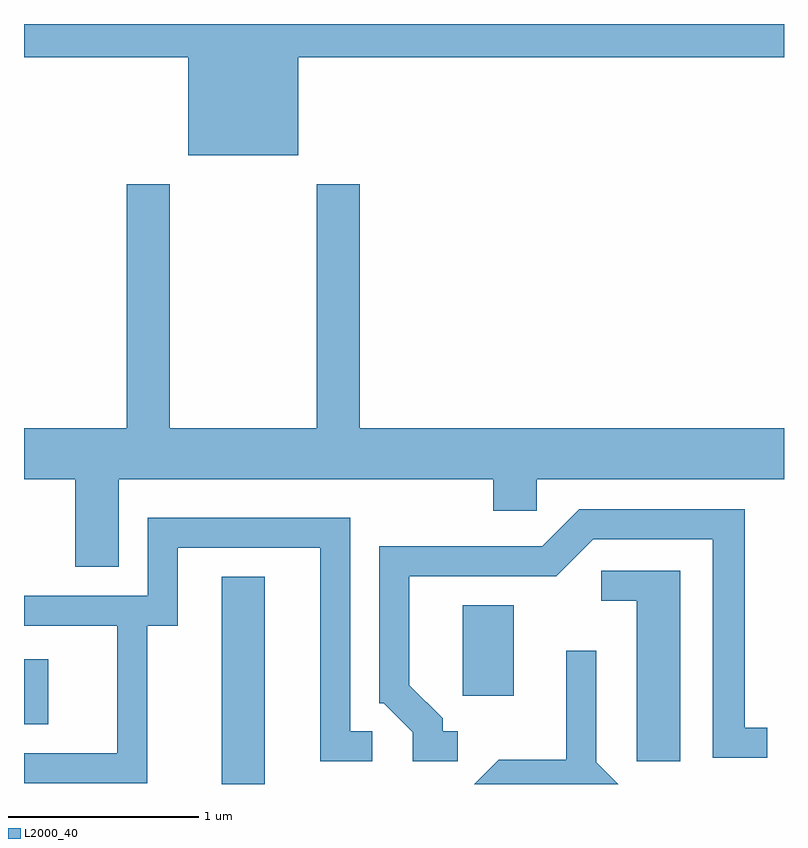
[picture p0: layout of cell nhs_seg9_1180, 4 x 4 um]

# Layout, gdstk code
import gdstk
lib = gdstk.Library(unit=1e-6, precision=1e-09)
def R(c, l, rs):  # rectangles x0, y0, x1, y1
    for r in rs: c.add(gdstk.rectangle(r[:2], r[2:], *l))
def P(c, l, *ps):  # polygons
    for p in ps: c.add(gdstk.Polygon(p, *l))
L2000_40 = (2000, 40)

nhs_seg9_1180 = lib.new_cell('nhs_seg9_1180')
R(nhs_seg9_1180, L2000_40, [(220.651,1992.432,220.879,1993.524), (219.611,1992.746,219.739,1993.089), (221.921,1992.896,222.189,1993.374)])
P(nhs_seg9_1180, L2000_40, [(221.054,1996.256),(223.611,1996.256),(223.611,1996.432),(219.611,1996.432),(219.611,1996.256),(220.476,1996.256),(220.476,1995.741),(221.054,1995.741)],
  [(220.109,1994.036),(222.081,1994.036),(222.081,1993.871),(222.309,1993.871),(222.309,1994.036),(223.611,1994.036),(223.611,1994.304),(221.379,1994.304),(221.379,1995.589),(221.151,1995.589),(221.151,1994.304),(220.379,1994.304),(220.379,1995.589),(220.151,1995.589),(220.151,1994.304),(219.611,1994.304),(219.611,1994.036),(219.881,1994.036),(219.881,1993.576),(220.109,1993.576)],
  [(221.893,1992.709),(221.814,1992.709),(221.814,1992.777),(221.639,1992.952),(221.639,1993.526),(222.412,1993.526),(222.607,1993.721),(223.236,1993.721),(223.236,1992.571),(223.523,1992.571),(223.523,1992.729),(223.404,1992.729),(223.404,1993.879),(222.534,1993.879),(222.339,1993.684),(221.481,1993.684),(221.481,1992.856),(221.504,1992.856),(221.656,1992.704),(221.656,1992.551),(221.893,1992.551)],
  [(220.259,1993.266),(220.419,1993.266),(220.419,1993.676),(221.171,1993.676),(221.171,1992.551),(221.443,1992.551),(221.443,1992.709),(221.329,1992.709),(221.329,1993.834),(220.261,1993.834),(220.261,1993.424),(219.611,1993.424),(219.611,1993.266),(220.101,1993.266),(220.101,1992.594),(219.611,1992.594),(219.611,1992.436),(220.259,1992.436)],
  [(223.064,1993.554),(222.648,1993.554),(222.648,1993.396),(222.836,1993.396),(222.836,1992.551),(223.064,1992.551)],
  [(222.624,1992.547),(222.624,1993.133),(222.466,1993.133),(222.466,1992.559),(222.109,1992.559),(221.982,1992.432),(222.739,1992.432)])

lib.write_gds('nhs_seg9_1180.gds')
